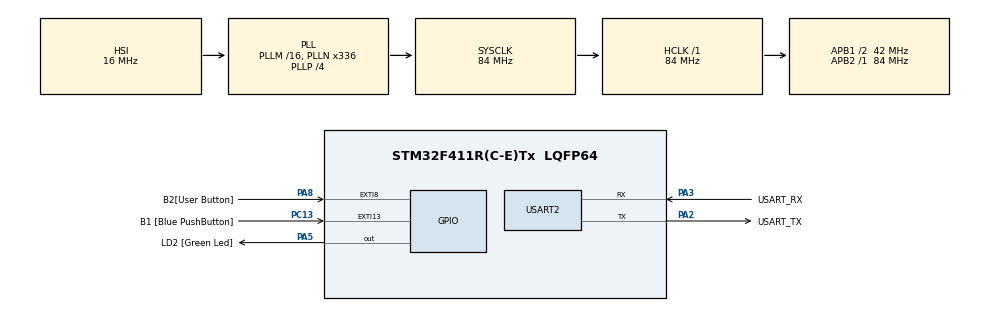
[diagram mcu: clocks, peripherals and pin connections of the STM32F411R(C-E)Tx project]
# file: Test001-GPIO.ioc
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Mcu.Family=STM32F4
Mcu.Name=STM32F411R(C-E)Tx
Mcu.Package=LQFP64
NVIC.EXTI15_10_IRQn=true\:0\:0\:false\:false\:true\:true\:true\:true
NVIC.EXTI9_5_IRQn=true\:0\:0\:false\:false\:true\:true\:true\:true
NVIC.PriorityGroup=NVIC_PRIORITYGROUP_0
PA13.GPIO_Label=TMS
PA13.Mode=Serial_Wire
PA13.Signal=SYS_JTMS-SWDIO
PA14.GPIO_Label=TCK
PA14.Mode=Serial_Wire
PA14.Signal=SYS_JTCK-SWCLK
PA2.GPIO_Label=USART_TX
PA2.Mode=Asynchronous
PA2.Signal=USART2_TX
PA3.GPIO_Label=USART_RX
PA3.Mode=Asynchronous
PA3.Signal=USART2_RX
PA5.GPIO_Label=LD2 [Green Led]
PA5.Signal=GPIO_Output
PA8.GPIO_Label=B2[User Button]
PA8.Signal=GPXTI8
PB3.GPIO_Label=SWO
PB3.Signal=SYS_JTDO-SWO
PC13-ANTI_TAMP.GPIO_Label=B1 [Blue PushButton]
PC13-ANTI_TAMP.GPIO_ModeDefaultEXTI=GPIO_MODE_IT_FALLING
PC13-ANTI_TAMP.Signal=GPXTI13
PC14-OSC32_IN.Mode=LSE-External-Oscillator
PC14-OSC32_IN.Signal=RCC_OSC32_IN
PC15-OSC32_OUT.Mode=LSE-External-Oscillator
PC15-OSC32_OUT.Signal=RCC_OSC32_OUT
PH0\ -\ OSC_IN.Mode=HSE-External-Clock-Source
PH0\ -\ OSC_IN.Signal=RCC_OSC_IN
PH1\ -\ OSC_OUT.Mode=HSE-External-Clock-Source
PH1\ -\ OSC_OUT.Signal=RCC_OSC_OUT
ProjectManager.HeapSize=0x200
ProjectManager.StackSize=0x400
ProjectManager.TargetToolchain=STM32CubeIDE
RCC.48MHZClocksFreq_Value=84000000
RCC.AHBFreq_Value=84000000
RCC.APB1CLKDivider=RCC_HCLK_DIV2
RCC.APB1Freq_Value=42000000
RCC.APB1TimFreq_Value=84000000
RCC.APB2Freq_Value=84000000
RCC.APB2TimFreq_Value=84000000
RCC.CortexFreq_Value=84000000
RCC.FLatency-AdvancedSettings=FLASH_LATENCY_2
RCC.HCLKFreq_Value=84000000
RCC.HSE_VALUE=8000000
RCC.HSI_VALUE=16000000
RCC.PLLN=336
RCC.PLLP=RCC_PLLP_DIV4
RCC.SYSCLKFreq_VALUE=84000000
RCC.SYSCLKSource=RCC_SYSCLKSOURCE_PLLCLK
RCC.VCOOutputFreq_Value=336000000
USART2.VirtualMode=VM_ASYNC
board=NUCLEO-F411RE

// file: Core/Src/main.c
/* USER CODE BEGIN Header */
/**
  ******************************************************************************
  * @file           : main.c
  * @brief          : Main program body
  ******************************************************************************
  * @attention
  *
  * Copyright (c) 2024 STMicroelectronics.
  * All rights reserved.
  *
  * This software is licensed under terms that can be found in the LICENSE file
  * in the root directory of this software component.
  * If no LICENSE file comes with this software, it is provided AS-IS.
  *
  ******************************************************************************
  */
/* USER CODE END Header */
#include "main.h"

/* USER CODE BEGIN Includes */
#include <stdio.h>

/* USER CODE END Includes */

UART_HandleTypeDef huart2;

/* USER CODE BEGIN PV */
int __io_putchar(int ch) // 1문자단위로 출력포트로 출력
{
	HAL_UART_Transmit(&huart2, &ch, 1, 10);
	return ch;
}
// int __io_getchar(void);
/* USER CODE END PV */

void SystemClock_Config(void);
static void MX_GPIO_Init(void);
static void MX_USART2_UART_Init(void);

/* USER CODE BEGIN 0 */
int mode = 0;
int count = 0;
void HAL_GPIO_EXTI_Callback(uint16_t GPIO_Pin)  // EXTI15 (B1) ISR
{
	switch (GPIO_Pin)
	{
	case B1_Pin:
		mode ++;
		if(mode > 1) mode = 0;
		break;
	case B2_Pin:
		printf("%d times pressed\r\n", count++);
		break;
	}

}

/* USER CODE END 0 */

int main(void)
{

  /* MCU Configuration--------------------------------------------------------*/

  /* Reset of all peripherals, Initializes the Flash interface and the Systick. */
  HAL_Init();

  /* Configure the system clock */
  SystemClock_Config();

  /* Initialize all configured peripherals */
  MX_GPIO_Init();
  MX_USART2_UART_Init();
  /* USER CODE BEGIN 2 */
  //  printf("\033[2J\n"); // clear screen
  //  printf("\033[1;1H\n"); // y;xH : (x,y) 위치로 커서이동
  printf("\033[2J\033[1;1H\n"); //  위에 2개 합침

  // git hub 업로드 테스트

  /* USER CODE END 2 */

  /* Infinite loop */
  /* USER CODE BEGIN WHILE */
  while (1)
  {
	  //int a = HAL_GPIO_ReadPin(GPIOC, GPIO_PIN_13); // PC13 : B1
	  if(mode == 1)
	  {
	  HAL_GPIO_WritePin(LD2_GPIO_Port, LD2_Pin, 1); // PA5
	  HAL_Delay(500); //  500ms
	  HAL_GPIO_WritePin(LD2_GPIO_Port, LD2_Pin, 0);
	  HAL_Delay(500); //  500ms
	  }
    /* USER CODE END WHILE */

  }
}

void SystemClock_Config(void)
{
  RCC_OscInitTypeDef RCC_OscInitStruct = {0};
  RCC_ClkInitTypeDef RCC_ClkInitStruct = {0};

  /** Configure the main internal regulator output voltage
  */
  __HAL_RCC_PWR_CLK_ENABLE();
  __HAL_PWR_VOLTAGESCALING_CONFIG(PWR_REGULATOR_VOLTAGE_SCALE1);

  /** Initializes the RCC Oscillators according to the specified parameters
  * in the RCC_OscInitTypeDef structure.
  */
  RCC_OscInitStruct.OscillatorType = RCC_OSCILLATORTYPE_HSI;
  RCC_OscInitStruct.HSIState = RCC_HSI_ON;
  RCC_OscInitStruct.HSICalibrationValue = RCC_HSICALIBRATION_DEFAULT;
  RCC_OscInitStruct.PLL.PLLState = RCC_PLL_ON;
  RCC_OscInitStruct.PLL.PLLSource = RCC_PLLSOURCE_HSI;
  RCC_OscInitStruct.PLL.PLLM = 16;
  RCC_OscInitStruct.PLL.PLLN = 336;
  RCC_OscInitStruct.PLL.PLLP = RCC_PLLP_DIV4;
  RCC_OscInitStruct.PLL.PLLQ = 4;
  if (HAL_RCC_OscConfig(&RCC_OscInitStruct) != HAL_OK)
  {
    Error_Handler();
  }

  /** Initializes the CPU, AHB and APB buses clocks
  */
  RCC_ClkInitStruct.ClockType = RCC_CLOCKTYPE_HCLK|RCC_CLOCKTYPE_SYSCLK
                              |RCC_CLOCKTYPE_PCLK1|RCC_CLOCKTYPE_PCLK2;
  RCC_ClkInitStruct.SYSCLKSource = RCC_SYSCLKSOURCE_PLLCLK;
  RCC_ClkInitStruct.AHBCLKDivider = RCC_SYSCLK_DIV1;
  RCC_ClkInitStruct.APB1CLKDivider = RCC_HCLK_DIV2;
  RCC_ClkInitStruct.APB2CLKDivider = RCC_HCLK_DIV1;

  if (HAL_RCC_ClockConfig(&RCC_ClkInitStruct, FLASH_LATENCY_2) != HAL_OK)
  {
    Error_Handler();
  }
}

static void MX_USART2_UART_Init(void)
{

  huart2.Instance = USART2;
  huart2.Init.BaudRate = 115200;
  huart2.Init.WordLength = UART_WORDLENGTH_8B;
  huart2.Init.StopBits = UART_STOPBITS_1;
  huart2.Init.Parity = UART_PARITY_NONE;
  huart2.Init.Mode = UART_MODE_TX_RX;
  huart2.Init.HwFlowCtl = UART_HWCONTROL_NONE;
  huart2.Init.OverSampling = UART_OVERSAMPLING_16;
  if (HAL_UART_Init(&huart2) != HAL_OK)
  {
    Error_Handler();
  }

}

static void MX_GPIO_Init(void)
{
  GPIO_InitTypeDef GPIO_InitStruct = {0};

  /* GPIO Ports Clock Enable */
  __HAL_RCC_GPIOC_CLK_ENABLE();
  __HAL_RCC_GPIOH_CLK_ENABLE();
  __HAL_RCC_GPIOA_CLK_ENABLE();
  __HAL_RCC_GPIOB_CLK_ENABLE();

  /*Configure GPIO pin Output Level */
  HAL_GPIO_WritePin(LD2_GPIO_Port, LD2_Pin, GPIO_PIN_RESET);

  /*Configure GPIO pin : B1_Pin */
  GPIO_InitStruct.Pin = B1_Pin;
  GPIO_InitStruct.Mode = GPIO_MODE_IT_FALLING;
  GPIO_InitStruct.Pull = GPIO_NOPULL;
  HAL_GPIO_Init(B1_GPIO_Port, &GPIO_InitStruct);

  /*Configure GPIO pin : LD2_Pin */
  GPIO_InitStruct.Pin = LD2_Pin;
  GPIO_InitStruct.Mode = GPIO_MODE_OUTPUT_PP;
  GPIO_InitStruct.Pull = GPIO_NOPULL;
  GPIO_InitStruct.Speed = GPIO_SPEED_FREQ_LOW;
  HAL_GPIO_Init(LD2_GPIO_Port, &GPIO_InitStruct);

  /*Configure GPIO pin : B2_Pin */
  GPIO_InitStruct.Pin = B2_Pin;
  GPIO_InitStruct.Mode = GPIO_MODE_IT_RISING;
  GPIO_InitStruct.Pull = GPIO_NOPULL;
  HAL_GPIO_Init(B2_GPIO_Port, &GPIO_InitStruct);

  /* EXTI interrupt init*/
  HAL_NVIC_SetPriority(EXTI9_5_IRQn, 0, 0);
  HAL_NVIC_EnableIRQ(EXTI9_5_IRQn);

  HAL_NVIC_SetPriority(EXTI15_10_IRQn, 0, 0);
  HAL_NVIC_EnableIRQ(EXTI15_10_IRQn);

}

void Error_Handler(void)
{
  __disable_irq();
  while (1)
  {
  }
}
